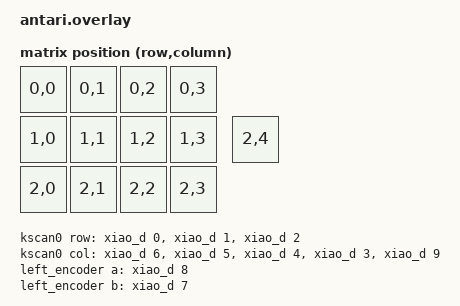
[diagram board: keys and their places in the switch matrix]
#include <dt-bindings/zmk/matrix_transform.h>
#include <physical_layouts.dtsi>

/*
 * Antari2040 — common shield definition (works on XIAO nRF52840 and XIAO RP2040)
 * 12 keys (4 wide x 3 tall) + encoder push button at row 2, col 4.
 *   cols: D6, D5, D4, D3, D9   rows: D0, D1, D2   encoder: A=D8, B=D7
 * The WS2812 LED strip is board-specific and lives in boards/<board>.overlay
 */

/ {
    chosen {
        zmk,physical-layout = &antari_layout;
    };

    default_transform: keymap_transform_0 {
        compatible = "zmk,matrix-transform";
        columns = <5>;
        rows = <3>;
        map = <
            RC(0,0) RC(0,1) RC(0,2) RC(0,3)
            RC(1,0) RC(1,1) RC(1,2) RC(1,3)
            RC(2,0) RC(2,1) RC(2,2) RC(2,3) RC(2,4)
        >;
    };

    antari_layout: antari_layout {
        compatible = "zmk,physical-layout";
        display-name = "Antari";
        transform = <&default_transform>;
        kscan = <&kscan0>;
        keys  //                     w   h    x    y  rot rx ry
            = <&key_physical_attrs 100 100    0    0    0  0  0>
            , <&key_physical_attrs 100 100  100    0    0  0  0>
            , <&key_physical_attrs 100 100  200    0    0  0  0>
            , <&key_physical_attrs 100 100  300    0    0  0  0>
            , <&key_physical_attrs 100 100    0  100    0  0  0>
            , <&key_physical_attrs 100 100  100  100    0  0  0>
            , <&key_physical_attrs 100 100  200  100    0  0  0>
            , <&key_physical_attrs 100 100  300  100    0  0  0>
            , <&key_physical_attrs 100 100    0  200    0  0  0>
            , <&key_physical_attrs 100 100  100  200    0  0  0>
            , <&key_physical_attrs 100 100  200  200    0  0  0>
            , <&key_physical_attrs 100 100  300  200    0  0  0>
            , <&key_physical_attrs 100 100  425  100    0  0  0>
            ;
    };

    kscan0: kscan {
        compatible = "zmk,kscan-gpio-matrix";
        diode-direction = "col2row";
        wakeup-source;
        col-gpios
            = <&xiao_d 6 GPIO_ACTIVE_HIGH>
            , <&xiao_d 5 GPIO_ACTIVE_HIGH>
            , <&xiao_d 4 GPIO_ACTIVE_HIGH>
            , <&xiao_d 3 GPIO_ACTIVE_HIGH>
            , <&xiao_d 9 GPIO_ACTIVE_HIGH>
            ;
        row-gpios
            = <&xiao_d 0 (GPIO_ACTIVE_HIGH | GPIO_PULL_DOWN)>
            , <&xiao_d 1 (GPIO_ACTIVE_HIGH | GPIO_PULL_DOWN)>
            , <&xiao_d 2 (GPIO_ACTIVE_HIGH | GPIO_PULL_DOWN)>
            ;
    };

    left_encoder: encoder_left {
        compatible = "alps,ec11";
        a-gpios = <&xiao_d 8 (GPIO_ACTIVE_HIGH | GPIO_PULL_UP)>;
        b-gpios = <&xiao_d 7 (GPIO_ACTIVE_HIGH | GPIO_PULL_UP)>;
        steps = <80>;
        status = "okay";
    };

    sensors: sensors {
        compatible = "zmk,keymap-sensors";
        sensors = <&left_encoder>;
        triggers-per-rotation = <20>;
    };
};
